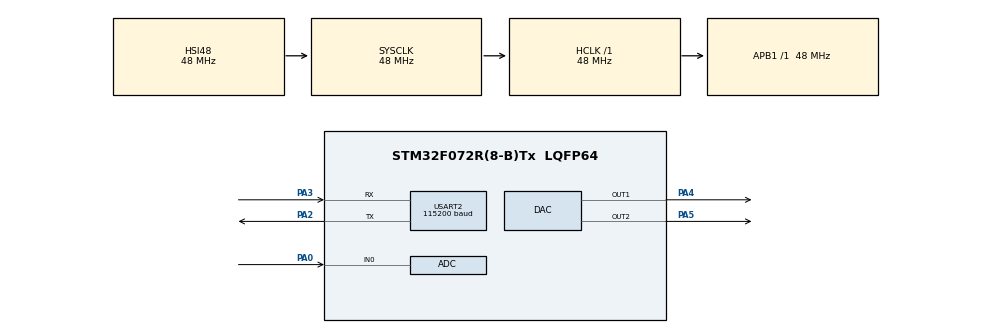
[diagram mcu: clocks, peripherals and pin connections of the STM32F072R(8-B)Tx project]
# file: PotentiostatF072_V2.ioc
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ADC.ContinuousConvMode=DISABLE
ADC.DMAContinuousRequests=ENABLE
ADC.ExternalTrigConv=ADC_EXTERNALTRIGCONV_T1_TRGO
ADC.SamplingTime=ADC_SAMPLETIME_239CYCLES_5
Dma.ADC.0.Direction=DMA_PERIPH_TO_MEMORY
Dma.ADC.0.Instance=DMA1_Channel1
Dma.ADC.0.MemDataAlignment=DMA_MDATAALIGN_WORD
Dma.ADC.0.MemInc=DMA_MINC_ENABLE
Dma.ADC.0.Mode=DMA_CIRCULAR
Dma.ADC.0.PeriphDataAlignment=DMA_PDATAALIGN_HALFWORD
Dma.ADC.0.PeriphInc=DMA_PINC_DISABLE
Dma.ADC.0.Priority=DMA_PRIORITY_LOW
Dma.Request0=ADC
Mcu.Family=STM32F0
Mcu.Name=STM32F072R(8-B)Tx
Mcu.Package=LQFP64
NVIC.DMA1_Channel1_IRQn=true\:0\:0\:false\:false\:true\:false\:true\:true
NVIC.TIM3_IRQn=true\:0\:0\:false\:false\:true\:true\:true\:true
NVIC.USART2_IRQn=true\:0\:0\:false\:false\:true\:true\:true\:true
PA0.Mode=IN0
PA0.Signal=ADC_IN0
PA13.Mode=Serial_Wire
PA13.Signal=SYS_SWDIO
PA14.Mode=Serial_Wire
PA14.Signal=SYS_SWCLK
PA2.Mode=Asynchronous
PA2.Signal=USART2_TX
PA3.Mode=Asynchronous
PA3.Signal=USART2_RX
PA4.Signal=COMP_DAC1_group
PA5.Signal=COMP_DAC2_group
ProjectManager.HeapSize=0x200
ProjectManager.StackSize=0x400
ProjectManager.TargetToolchain=STM32CubeIDE
RCC.AHBFreq_Value=48000000
RCC.APB1Freq_Value=48000000
RCC.APB1TimFreq_Value=48000000
RCC.HCLKFreq_Value=48000000
RCC.SYSCLKFreq_VALUE=48000000
RCC.SYSCLKSource=RCC_SYSCLKSOURCE_HSI48
SH.COMP_DAC1_group.0=DAC_OUT1,DAC_OUT1
SH.COMP_DAC2_group.0=DAC_OUT2,DAC_OUT2
TIM1.Period=50-1
TIM1.Prescaler=48-1
TIM1.TIM_MasterOutputTrigger=TIM_TRGO_UPDATE
TIM3.Period=50-1
TIM3.Prescaler=48000-1
TIM3.TIM_MasterOutputTrigger=TIM_TRGO_UPDATE
USART2.BaudRate=115200
USART2.VirtualMode-Asynchronous=VM_ASYNC
VP_TIM1_VS_ClockSourceINT.Mode=Internal
VP_TIM3_VS_ClockSourceINT.Mode=Internal
board=custom

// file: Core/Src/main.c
/* USER CODE BEGIN Header */
/**
  ******************************************************************************
  * @file           : main.c
  * @brief          : Main program body
  ******************************************************************************
  * @attention
  *
  * Copyright (c) 2024 STMicroelectronics.
  * All rights reserved.
  *
  * This software is licensed under terms that can be found in the LICENSE file
  * in the root directory of this software component.
  * If no LICENSE file comes with this software, it is provided AS-IS.
  *
  ******************************************************************************
  */
/* USER CODE END Header */
#include "main.h"

/* USER CODE BEGIN Includes */
#include <stdio.h>
#include <string.h>
/* USER CODE END Includes */

/* USER CODE BEGIN PD */
typedef enum Sys_States_e {
	IDLE = 0, RECIEVE_USER_COMMAND, POWER_ON_DAC, START_ADC, TRANSMIT_ADC_CMD, POWER_OFF_DAC_ADC,
} Sys_States_e;
/* USER CODE END PD */

/* USER CODE BEGIN PM */
#define POTENTIOSTAT_V2 1 //0 if STM32 and 1 for V2.0

#define RX_BUFFER_SIZE 10
#define TX_BUFFER_SIZE 25
#define FILTER_SIZE 1000
/* USER CODE END PM */

ADC_HandleTypeDef hadc;
DMA_HandleTypeDef hdma_adc;

DAC_HandleTypeDef hdac;

TIM_HandleTypeDef htim1;
TIM_HandleTypeDef htim3;

UART_HandleTypeDef huart2;

/* USER CODE BEGIN PV */
#if POTENTIOSTAT_V2==1
const float INITIAL_DAC_VOLTAGE=((0.901*4095)/3.3);
const float RES_IN_SERIES=92.36;
const float DAC2_VOLTAGE=(1.5*4095)/3.3;
const uint32_t MICRO_TO_NANO=100000;
#else
const float INITIAL_DAC_VOLTAGE=((1.245*4095)/3.3);
const float RES_IN_SERIES=128.6;
const uint32_t MICRO_TO_NANO=10000;
#endif

uint8_t rx_buffer[RX_BUFFER_SIZE]={0};
uint8_t tx_buffer[TX_BUFFER_SIZE]={0};
uint8_t timer_started=0;
uint32_t time_counter=0;
float adc_value=0;
int32_t current_value=0;
uint8_t first_run=0;
float applied_voltage=INITIAL_DAC_VOLTAGE;
uint32_t time_duration=0;
Sys_States_e operating_mode=IDLE;
uint32_t adc_buffer[FILTER_SIZE] = {0};
uint32_t buffer_index = 0;
uint32_t sum = 0;
uint32_t temp_adc[2]={0};
uint32_t filtered_adc_value=0;
uint32_t prev_filter_value=0;
/* USER CODE END PV */

void SystemClock_Config(void);
static void MX_GPIO_Init(void);
static void MX_DMA_Init(void);
static void MX_ADC_Init(void);
static void MX_DAC_Init(void);
static void MX_TIM3_Init(void);
static void MX_USART2_UART_Init(void);
static void MX_TIM1_Init(void);
/* USER CODE BEGIN PFP */
void Mode_of_operation();
void ideal_state();
void check_for_uart_command();
void set_dac_voltage();
void start_adc();
void transmit_adc_data();
void reset_dac_and_adc();
void CaseDefaultHandler();
/* USER CODE END PFP */

int main(void)
{

  /* MCU Configuration--------------------------------------------------------*/

  /* Reset of all peripherals, Initializes the Flash interface and the Systick. */
  HAL_Init();

  /* Configure the system clock */
  SystemClock_Config();

  /* Initialize all configured peripherals */
  MX_GPIO_Init();
  MX_DMA_Init();
  MX_ADC_Init();
  MX_DAC_Init();
  MX_TIM3_Init();
  MX_USART2_UART_Init();
  MX_TIM1_Init();

  /* Infinite loop */
  while (1)
  {

    /* USER CODE BEGIN 3 */
	  if(!timer_started)
	  {
		  TIM3->SR &= ~TIM_SR_UIF;
		  HAL_TIM_Base_Start_IT(&htim3);
	  	  timer_started=1;
	  }
  }
  /* USER CODE END 3 */
}

void SystemClock_Config(void)
{
  RCC_OscInitTypeDef RCC_OscInitStruct = {0};
  RCC_ClkInitTypeDef RCC_ClkInitStruct = {0};
  RCC_PeriphCLKInitTypeDef PeriphClkInit = {0};

  /** Initializes the RCC Oscillators according to the specified parameters
  * in the RCC_OscInitTypeDef structure.
  */
  RCC_OscInitStruct.OscillatorType = RCC_OSCILLATORTYPE_HSI14|RCC_OSCILLATORTYPE_HSI48;
  RCC_OscInitStruct.HSI48State = RCC_HSI48_ON;
  RCC_OscInitStruct.HSI14State = RCC_HSI14_ON;
  RCC_OscInitStruct.HSI14CalibrationValue = 16;
  RCC_OscInitStruct.PLL.PLLState = RCC_PLL_NONE;
  if (HAL_RCC_OscConfig(&RCC_OscInitStruct) != HAL_OK)
  {
    Error_Handler();
  }

  /** Initializes the CPU, AHB and APB buses clocks
  */
  RCC_ClkInitStruct.ClockType = RCC_CLOCKTYPE_HCLK|RCC_CLOCKTYPE_SYSCLK
                              |RCC_CLOCKTYPE_PCLK1;
  RCC_ClkInitStruct.SYSCLKSource = RCC_SYSCLKSOURCE_HSI48;
  RCC_ClkInitStruct.AHBCLKDivider = RCC_SYSCLK_DIV1;
  RCC_ClkInitStruct.APB1CLKDivider = RCC_HCLK_DIV1;

  if (HAL_RCC_ClockConfig(&RCC_ClkInitStruct, FLASH_LATENCY_1) != HAL_OK)
  {
    Error_Handler();
  }
  PeriphClkInit.PeriphClockSelection = RCC_PERIPHCLK_USART2;
  PeriphClkInit.Usart2ClockSelection = RCC_USART2CLKSOURCE_PCLK1;
  if (HAL_RCCEx_PeriphCLKConfig(&PeriphClkInit) != HAL_OK)
  {
    Error_Handler();
  }
}

static void MX_ADC_Init(void)
{

  ADC_ChannelConfTypeDef sConfig = {0};

  /** Configure the global features of the ADC (Clock, Resolution, Data Alignment and number of conversion)
  */
  hadc.Instance = ADC1;
  hadc.Init.ClockPrescaler = ADC_CLOCK_ASYNC_DIV1;
  hadc.Init.Resolution = ADC_RESOLUTION_12B;
  hadc.Init.DataAlign = ADC_DATAALIGN_RIGHT;
  hadc.Init.ScanConvMode = ADC_SCAN_DIRECTION_FORWARD;
  hadc.Init.EOCSelection = ADC_EOC_SINGLE_CONV;
  hadc.Init.LowPowerAutoWait = DISABLE;
  hadc.Init.LowPowerAutoPowerOff = DISABLE;
  hadc.Init.ContinuousConvMode = DISABLE;
  hadc.Init.DiscontinuousConvMode = DISABLE;
  hadc.Init.ExternalTrigConv = ADC_EXTERNALTRIGCONV_T1_TRGO;
  hadc.Init.ExternalTrigConvEdge = ADC_EXTERNALTRIGCONVEDGE_RISING;
  hadc.Init.DMAContinuousRequests = ENABLE;
  hadc.Init.Overrun = ADC_OVR_DATA_PRESERVED;
  if (HAL_ADC_Init(&hadc) != HAL_OK)
  {
    Error_Handler();
  }

  /** Configure for the selected ADC regular channel to be converted.
  */
  sConfig.Channel = ADC_CHANNEL_0;
  sConfig.Rank = ADC_RANK_CHANNEL_NUMBER;
  sConfig.SamplingTime = ADC_SAMPLETIME_239CYCLES_5;
  if (HAL_ADC_ConfigChannel(&hadc, &sConfig) != HAL_OK)
  {
    Error_Handler();
  }

}

static void MX_DAC_Init(void)
{

  DAC_ChannelConfTypeDef sConfig = {0};

  /** DAC Initialization
  */
  hdac.Instance = DAC;
  if (HAL_DAC_Init(&hdac) != HAL_OK)
  {
    Error_Handler();
  }

  /** DAC channel OUT1 config
  */
  sConfig.DAC_Trigger = DAC_TRIGGER_NONE;
  sConfig.DAC_OutputBuffer = DAC_OUTPUTBUFFER_ENABLE;
  if (HAL_DAC_ConfigChannel(&hdac, &sConfig, DAC_CHANNEL_1) != HAL_OK)
  {
    Error_Handler();
  }

  /** DAC channel OUT2 config
  */
  if (HAL_DAC_ConfigChannel(&hdac, &sConfig, DAC_CHANNEL_2) != HAL_OK)
  {
    Error_Handler();
  }

}

static void MX_TIM1_Init(void)
{

  TIM_ClockConfigTypeDef sClockSourceConfig = {0};
  TIM_MasterConfigTypeDef sMasterConfig = {0};

  htim1.Instance = TIM1;
  htim1.Init.Prescaler = 48-1;
  htim1.Init.CounterMode = TIM_COUNTERMODE_UP;
  htim1.Init.Period = 50-1;
  htim1.Init.ClockDivision = TIM_CLOCKDIVISION_DIV1;
  htim1.Init.RepetitionCounter = 0;
  htim1.Init.AutoReloadPreload = TIM_AUTORELOAD_PRELOAD_DISABLE;
  if (HAL_TIM_Base_Init(&htim1) != HAL_OK)
  {
    Error_Handler();
  }
  sClockSourceConfig.ClockSource = TIM_CLOCKSOURCE_INTERNAL;
  if (HAL_TIM_ConfigClockSource(&htim1, &sClockSourceConfig) != HAL_OK)
  {
    Error_Handler();
  }
  sMasterConfig.MasterOutputTrigger = TIM_TRGO_UPDATE;
  sMasterConfig.MasterSlaveMode = TIM_MASTERSLAVEMODE_DISABLE;
  if (HAL_TIMEx_MasterConfigSynchronization(&htim1, &sMasterConfig) != HAL_OK)
  {
    Error_Handler();
  }

}

static void MX_TIM3_Init(void)
{

  TIM_ClockConfigTypeDef sClockSourceConfig = {0};
  TIM_MasterConfigTypeDef sMasterConfig = {0};

  htim3.Instance = TIM3;
  htim3.Init.Prescaler = 48000-1;
  htim3.Init.CounterMode = TIM_COUNTERMODE_UP;
  htim3.Init.Period = 50-1;
  htim3.Init.ClockDivision = TIM_CLOCKDIVISION_DIV1;
  htim3.Init.AutoReloadPreload = TIM_AUTORELOAD_PRELOAD_DISABLE;
  if (HAL_TIM_Base_Init(&htim3) != HAL_OK)
  {
    Error_Handler();
  }
  sClockSourceConfig.ClockSource = TIM_CLOCKSOURCE_INTERNAL;
  if (HAL_TIM_ConfigClockSource(&htim3, &sClockSourceConfig) != HAL_OK)
  {
    Error_Handler();
  }
  sMasterConfig.MasterOutputTrigger = TIM_TRGO_UPDATE;
  sMasterConfig.MasterSlaveMode = TIM_MASTERSLAVEMODE_DISABLE;
  if (HAL_TIMEx_MasterConfigSynchronization(&htim3, &sMasterConfig) != HAL_OK)
  {
    Error_Handler();
  }

}

static void MX_USART2_UART_Init(void)
{

  huart2.Instance = USART2;
  huart2.Init.BaudRate = 115200;
  huart2.Init.WordLength = UART_WORDLENGTH_8B;
  huart2.Init.StopBits = UART_STOPBITS_1;
  huart2.Init.Parity = UART_PARITY_NONE;
  huart2.Init.Mode = UART_MODE_TX_RX;
  huart2.Init.HwFlowCtl = UART_HWCONTROL_NONE;
  huart2.Init.OverSampling = UART_OVERSAMPLING_16;
  huart2.Init.OneBitSampling = UART_ONE_BIT_SAMPLE_DISABLE;
  huart2.AdvancedInit.AdvFeatureInit = UART_ADVFEATURE_NO_INIT;
  if (HAL_UART_Init(&huart2) != HAL_OK)
  {
    Error_Handler();
  }

}

static void MX_DMA_Init(void)
{

  /* DMA controller clock enable */
  __HAL_RCC_DMA1_CLK_ENABLE();

  /* DMA interrupt init */
  /* DMA1_Channel1_IRQn interrupt configuration */
  HAL_NVIC_SetPriority(DMA1_Channel1_IRQn, 0, 0);
  HAL_NVIC_EnableIRQ(DMA1_Channel1_IRQn);

}

static void MX_GPIO_Init(void)
{

  /* GPIO Ports Clock Enable */
  __HAL_RCC_GPIOA_CLK_ENABLE();

}

/* USER CODE BEGIN 4 */
void moving_average_filter(uint32_t new_adc_value)
{
    sum -= adc_buffer[buffer_index];
    sum += new_adc_value;
    adc_buffer[buffer_index] = new_adc_value;
    buffer_index = (buffer_index + 1) % FILTER_SIZE;
    filtered_adc_value=(uint32_t)(sum / FILTER_SIZE);
}

void HAL_TIM_PeriodElapsedCallback(TIM_HandleTypeDef* htim)
{
	if(htim==&htim3)
	{
		time_counter++;
		Mode_of_operation();
	}
}

void HAL_ADC_ConvHalfCpltCallback(ADC_HandleTypeDef* hadc)
{
	adc_value=((temp_adc[0]*3300)/4095);
	moving_average_filter(adc_value);
}

void Mode_of_operation()
{
	switch (operating_mode)
	{
	case IDLE:
		ideal_state();
		break;

	case RECIEVE_USER_COMMAND:
		check_for_uart_command();
		break;

	case POWER_ON_DAC:
		set_dac_voltage();
		break;

	case START_ADC:
		start_adc();
		break;

	case TRANSMIT_ADC_CMD:
		transmit_adc_data();
		break;

	case POWER_OFF_DAC_ADC:
		reset_dac_and_adc();
		break;

	default:
		CaseDefaultHandler();
		break;

	}
}

void ideal_state()
{
	HAL_StatusTypeDef state=HAL_BUSY;
	HAL_DAC_SetValue(&hdac, DAC_CHANNEL_1,DAC_ALIGN_12B_R, applied_voltage);
#if POTENTIOSTAT_V2==1
	HAL_DAC_SetValue(&hdac, DAC_CHANNEL_2,DAC_ALIGN_12B_R, DAC2_VOLTAGE);
	HAL_DAC_Start(&hdac, DAC_CHANNEL_2);
#endif
	state=HAL_DAC_Start(&hdac, DAC_CHANNEL_1);
	if(state==HAL_OK)
	{
		//Switch to UART reception state
		operating_mode=RECIEVE_USER_COMMAND;
	}
}

void check_for_uart_command()
{
	HAL_StatusTypeDef state=HAL_BUSY;
	state=HAL_UART_Receive_IT(&huart2, rx_buffer, sizeof(rx_buffer));
	if(state==HAL_OK && first_run>0)
	{
		int32_t temp[2];
		uint8_t count=0;
		char *token;
		token=strtok(rx_buffer,",");
		while(token!=NULL && count<2)
		{
			temp[count]=atoi(token);
			count++;
			token=strtok(NULL,",");
		}
#if POTENTIOSTAT_V2==1
		applied_voltage=INITIAL_DAC_VOLTAGE-((temp[0]*4095)/3300);
#else
		applied_voltage=INITIAL_DAC_VOLTAGE-(((temp[0]*4095)/3300))*2;
#endif
		time_duration=temp[1]/50;
		first_run=0;
		operating_mode=POWER_ON_DAC;
	}
	else
	{
		operating_mode=RECIEVE_USER_COMMAND;
	}
	first_run++;
}

void set_dac_voltage()
{
	HAL_StatusTypeDef state=HAL_BUSY;
	HAL_DAC_SetValue(&hdac, DAC_CHANNEL_1,DAC_ALIGN_12B_R, applied_voltage);
#if POTENTIOSTAT_V2==1
	HAL_DAC_SetValue(&hdac, DAC_CHANNEL_2,DAC_ALIGN_12B_R, DAC2_VOLTAGE);
	HAL_DAC_Start(&hdac, DAC_CHANNEL_2);
#endif
	state=HAL_DAC_Start(&hdac, DAC_CHANNEL_1);
	if(state==HAL_OK)
	{
		operating_mode=START_ADC;
	}
	else
	{
		operating_mode=POWER_ON_DAC;
	}
}

void start_adc()
{
	HAL_StatusTypeDef state=HAL_BUSY;
	HAL_ADCEx_Calibration_Start(&hadc);
	state=HAL_ADC_Start_DMA(&hadc, temp_adc, 2);
	HAL_TIM_Base_Start(&htim1);
	if(state==HAL_OK)
	{
		time_counter=0;
		operating_mode=TRANSMIT_ADC_CMD;
	}
	else
	{
		operating_mode=START_ADC;
	}
}

void transmit_adc_data()
{
	HAL_ADC_Stop_DMA(&hadc);
	HAL_TIM_Base_Stop(&htim1);
#if POTENTIOSTAT_V2==1
	current_value=(((filtered_adc_value/1.00319)-1494)/RES_IN_SERIES)*MICRO_TO_NANO;
#else
	current_value=((filtered_adc_value-1504)/RES_IN_SERIES)*MICRO_TO_NANO;
#endif
	sprintf(tx_buffer,"I=%ld,T=%lu,",current_value,(time_counter*50));
	HAL_UART_Transmit(&huart2, (uint8_t*)tx_buffer, sizeof(tx_buffer),100);
	HAL_ADC_Start_DMA(&hadc, temp_adc, 2);
	HAL_TIM_Base_Start(&htim1);

	if(time_counter>=time_duration)
	{
		operating_mode=POWER_OFF_DAC_ADC;
	}
	else
	{
		operating_mode=TRANSMIT_ADC_CMD;
	}

}

void reset_dac_and_adc()
{
	HAL_StatusTypeDef state=HAL_BUSY;
	state=HAL_ADC_Stop_DMA(&hadc);

	if(state==HAL_OK)
	{
		timer_started=0;
		HAL_TIM_Base_Stop(&htim1);
		HAL_TIM_Base_Stop_IT(&htim3);
		time_counter=0;
		memset(rx_buffer,0,sizeof(rx_buffer));
		__HAL_UART_FLUSH_DRREGISTER(&huart2);
		applied_voltage=INITIAL_DAC_VOLTAGE;
		current_value=0;
		operating_mode=IDLE;
	}
	else
	{
		operating_mode=POWER_OFF_DAC_ADC;
	}
}

void CaseDefaultHandler()
{
	operating_mode=IDLE;
}

/* USER CODE END 4 */

void Error_Handler(void)
{
  __disable_irq();
  while (1)
  {
  }
}
